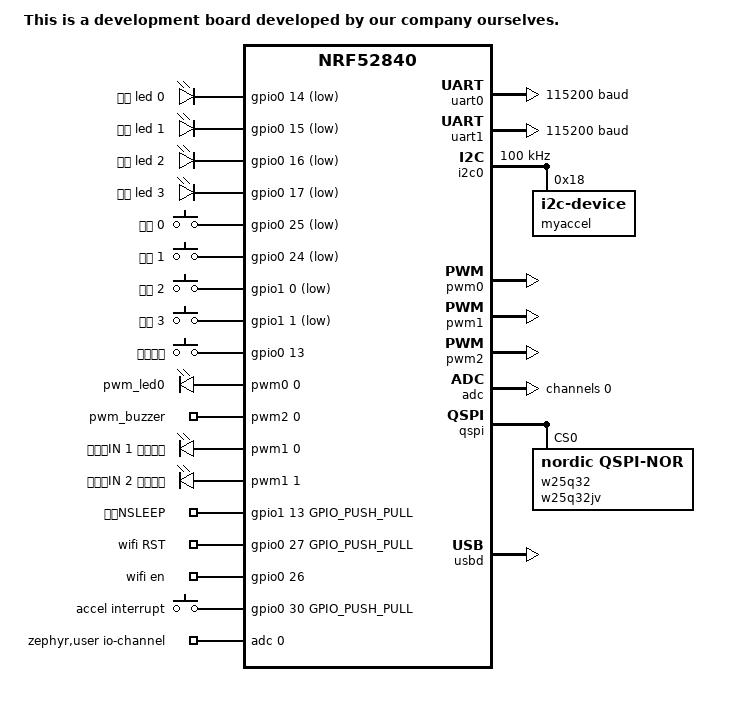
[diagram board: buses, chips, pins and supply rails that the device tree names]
/dts-v1/;
#include <nordic/nrf52840_qiaa.dtsi>
#include "nrf52840wtkj-pinctrl.dtsi"
#include <zephyr/dt-bindings/input/input-event-codes.h>

/ {
	model = "This is a development board developed by our company ourselves.";
	compatible = "wtkj,nrf52840wtkj";

	chosen {
		zephyr,sram = &sram0;
		zephyr,flash = &flash0;
		zephyr,code-partition = &slot0_partition;
		zephyr,console =  &uart0 ;
		zephyr,shell-uart =  &uart0;
		zephyr,uart-mcumgr = &uart0;
		// 为应用程序添加外部闪存
		nordic,pm-ext-flash=&w25q32;
	};

	leds{
		compatible = "gpio-leds";
		led0: led_0{
			gpios = <&gpio0 14 GPIO_ACTIVE_LOW>;
			label = "蓝色 led 0";
		};
		led1: led_1{
			gpios = <&gpio0 15 GPIO_ACTIVE_LOW>;
			label = "蓝色 led 1";
		};
		led2: led_2{
			gpios = <&gpio0 16 GPIO_ACTIVE_LOW>;
			label = "蓝色 led 2";
		};
		led3: led_3{
			gpios = <&gpio0 17 GPIO_ACTIVE_LOW>;
			label = "蓝色 led 3";
		};
	};
	buttons{
		compatible = "gpio-keys";
		button0: button_0{
			gpios = <&gpio0 25 (GPIO_ACTIVE_LOW | GPIO_PULL_UP)>;
			label = "按键 0";
			zephyr,code = <INPUT_KEY_0>;
		};
		button1: button_1{
			gpios = <&gpio0 24 (GPIO_PULL_UP|GPIO_ACTIVE_LOW)>;
			label = "按键 1";
			zephyr,code = <INPUT_KEY_1>;
		};
		button2: button_2{
			gpios = <&gpio1 0 (GPIO_ACTIVE_LOW | GPIO_PULL_UP)>;
			label = "按键 2";
			zephyr,code = <INPUT_KEY_2>;
		};
		button3: button_3{
			gpios = <&gpio1 1 (GPIO_ACTIVE_LOW | GPIO_PULL_UP)>;
			label = "按键 3";
			zephyr,code = <INPUT_KEY_3>;
		};
		touch: button_touch{
			gpios = <&gpio0 13 (GPIO_ACTIVE_HIGH | GPIO_PULL_DOWN)>;
			label = "触控按键";
			zephyr,code = <INPUT_KEY_4>;
		};
	};
	pwmleds{
		compatible = "pwm-leds";
		pwm_led0: pwm_led_0{
			pwms = <&pwm0 0 PWM_MSEC(20) PWM_POLARITY_NORMAL>;
		};
	};
	pwmbuzzer{
		compatible = "pwm-leds";
		pwm_buzzer: pwm_buzzer{
			pwms = <&pwm2 0 PWM_USEC(500) PWM_POLARITY_NORMAL>; //pwm 周期为500us
		};
	};
	motordriver {
		compatible = "pwm-leds";

		/* 通道0：控制电机正转/方向1（关联PWM1通道0） */
		motor_in_1: motor_in_1{
			pwms = <&pwm1 0 PWM_MSEC(20) PWM_POLARITY_NORMAL>;
			label = "电机的IN 1 引脚控制";
		};
		/* 通道1：控制电机反转/方向2（关联PWM1通道1） */
		motor_in_2: motor_in_2{
			pwms = <&pwm1 1 PWM_MSEC(20) PWM_POLARITY_NORMAL>;
			label = "电机的IN 2 引脚控制";
		};
	};
	gpiokeys{
		compatible = "gpio-keys";
		motor_nsleep: motor_nsleep{
			gpios = <&gpio1 13 GPIO_PUSH_PULL>;
			label = "电机NSLEEP";
		};
		wifi_rst: wifi_rst{
			gpios = <&gpio0 27 GPIO_PUSH_PULL>;
			label = "wifi RST";
		};
		wifi_en: wifi_en{
			gpios = <&gpio0 26 0>;
			label = "wifi en";
		};
		accel_interrupt: accel_interrupt{
			gpios = <&gpio0 30 GPIO_PUSH_PULL>;
			label = "accel interrupt";
		};
	};

	/* These aliases are provided for compatibility with samples */
	aliases {
		led0 = &led0;
		led1 = &led1;
		led2 = &led2;
		led3 = &led3;
		pwm-led0 = &pwm_led0;
		sw0 = &button0;
		sw1 = &button1;
		sw2 = &button2;
		sw3 = &button3;
		sw4 = &touch;
		bootloader-led0 = &led0;
		mcuboot-button0 = &button0;
		mcuboot-led0 = &led0;
		watchdog0 = &wdt0;
	};

	zephyr,user {
		io-channels = <&adc 0>;
	};
};

&flash0 {
	partitions {
		compatible = "fixed-partitions";
		#address-cells = <1>;
		#size-cells = <1>;

		boot_partition: partition@0 {
			label = "mcuboot";
			reg = <0x00000000 DT_SIZE_K(48)>;
		};

		slot0_partition: partition@c000 {
			label = "image-0";
			reg = <0x0000c000 DT_SIZE_K(472)>;
		};

		slot1_partition: partition@82000 {
			label = "image-1";
			reg = <0x00082000 DT_SIZE_K(472)>;
		};

		storage_partition: partition@f8000 {
			label = "storage";
			reg = <0x000f8000 DT_SIZE_K(32)>;
		};
	};
};
&gpiote {
	status = "okay";
};
&gpio0 {
	status = "okay";
};
&gpio1 {
	status = "okay";
};

//配置uart0
&uart0 {
	compatible = "nordic,nrf-uarte";
	status = "okay";
	current-speed = <115200>;
	pinctrl-0 = <&uart0_default>;
	pinctrl-1 = <&uart0_sleep>;
	pinctrl-names = "default","sleep";
};

//配置uart1
&uart1 {
	compatible = "nordic,nrf-uarte";
	status = "okay";
	current-speed = <115200>;
	pinctrl-0 = <&uart1_default>;
	pinctrl-1 = <&uart1_sleep>;
	pinctrl-names = "default","sleep";
};

//配置i2c0
&i2c0 {
	compatible = "nordic,nrf-twim";
	status = "okay";
	pinctrl-0 = <&i2c0_default>;
	pinctrl-1 = <&i2c0_sleep>;
	pinctrl-names = "default","sleep";
	clock-frequency = <I2C_BITRATE_STANDARD>;
	myaccel: lis2dh12@18 {
		compatible = "i2c-device";
		reg = <0x18>;
	};
};

//配置pwm0
&pwm0 {
	status = "okay";
	pinctrl-0 = <&pwm0_default>;
	pinctrl-1 = <&pwm0_sleep>;//注：这里有下画波浪线，是因为引脚被 led0 也使用了。
	pinctrl-names = "default","sleep";
};

//配置pwm1
&pwm1 {
	status = "okay";
	pinctrl-0 = <&pwm1_default>;
	pinctrl-1 = <&pwm1_sleep>;
	pinctrl-names = "default","sleep";
};
&pwm2 {
	status = "okay";
	pinctrl-0 = <&pwm2_default>;
	pinctrl-1 = <&pwm2_sleep>;
	pinctrl-names = "default","sleep";
};
&adc {
	#address-cells = <1>;
	#size-cells = <0>;
	status = "okay";
	channel@0 {
		reg = <0>;
		zephyr,gain = "ADC_GAIN_1_6";//增益 6倍
		zephyr,reference = "ADC_REF_INTERNAL"; //内部 0.6伏参考电压
		zephyr,acquisition-time = <ADC_ACQ_TIME_DEFAULT>;//采样时间
		zephyr,input-positive = <NRF_SAADC_AIN0>; /* P0.02 for nRF52xx, P0.04 for nRF5340 */
		zephyr,resolution = <12>;//分辨率12位
	};
};


&qspi {
	status = "okay";
	pinctrl-0 = <&qspi_default>;
	pinctrl-1 = <&qspi_sleep>;
	pinctrl-names = "default", "sleep";
	w25q32: w25q32jv@0 {
		compatible = "nordic,qspi-nor";
		status = "okay";
		reg = <0x0>;
		sck-frequency = <10000000>;/*时钟频率10Mhz */
		jedec-id = [ ef 40 16  ]; /* 厂商ID+设备ID，手册8.1节 */
		size = <0x2000000>;/* 这里填写flash大小（位） 0x2000000 位 = 0x400000 字节 =  4096kB = 4MB */

		/* Quad 读指令：Fast Read Quad Output（0x6Bh），需 QE=1 */
		readoc = "fastread";
		/* Quad 写指令：Quad Input Page Program（0x32h），需 QE=1 */
		writeoc = "pp";

		sfdp-bfp = [ e5 20 f1 ff ff ff ff 03 44 eb 08 6b 08 3b 04 bb ee ff ff ff ff ff 00 ff ff ff 00 ff 0c 10 0f 52 10 d8 00 ff 23 72 f5 00 82 ed 04 cc 44 83 68 44 30 b0 30 b0 f7 c4 d5 5c 00 be 29 ff f0 d0 ff ff  ];
		has-dpd;                          // W25Q32 支持 DPD，保留该属性
		t-enter-dpd = <300>;              // 进入 DPD 模式等待时间：0.3 微秒（µs，datasheet 规定最小 300ns）
		t-exit-dpd = <10000>;             // 退出 DPD 模式等待时间：10 微秒（µs，需等待芯片唤醒稳定）
		
	};
};

// &i2s0 {
	//     status = "okay";
	//     pinctrl-0 = <&i2s0_default>;
	//     pinctrl-1 = <&i2s0_sleep>;
	//     pinctrl-names = "default", "sleep";
// };


zephyr_udc0: &usbd {
	compatible = "nordic,nrf-usbd";
	status = "okay";
};
&uicr {
	gpio-as-nreset;
};
